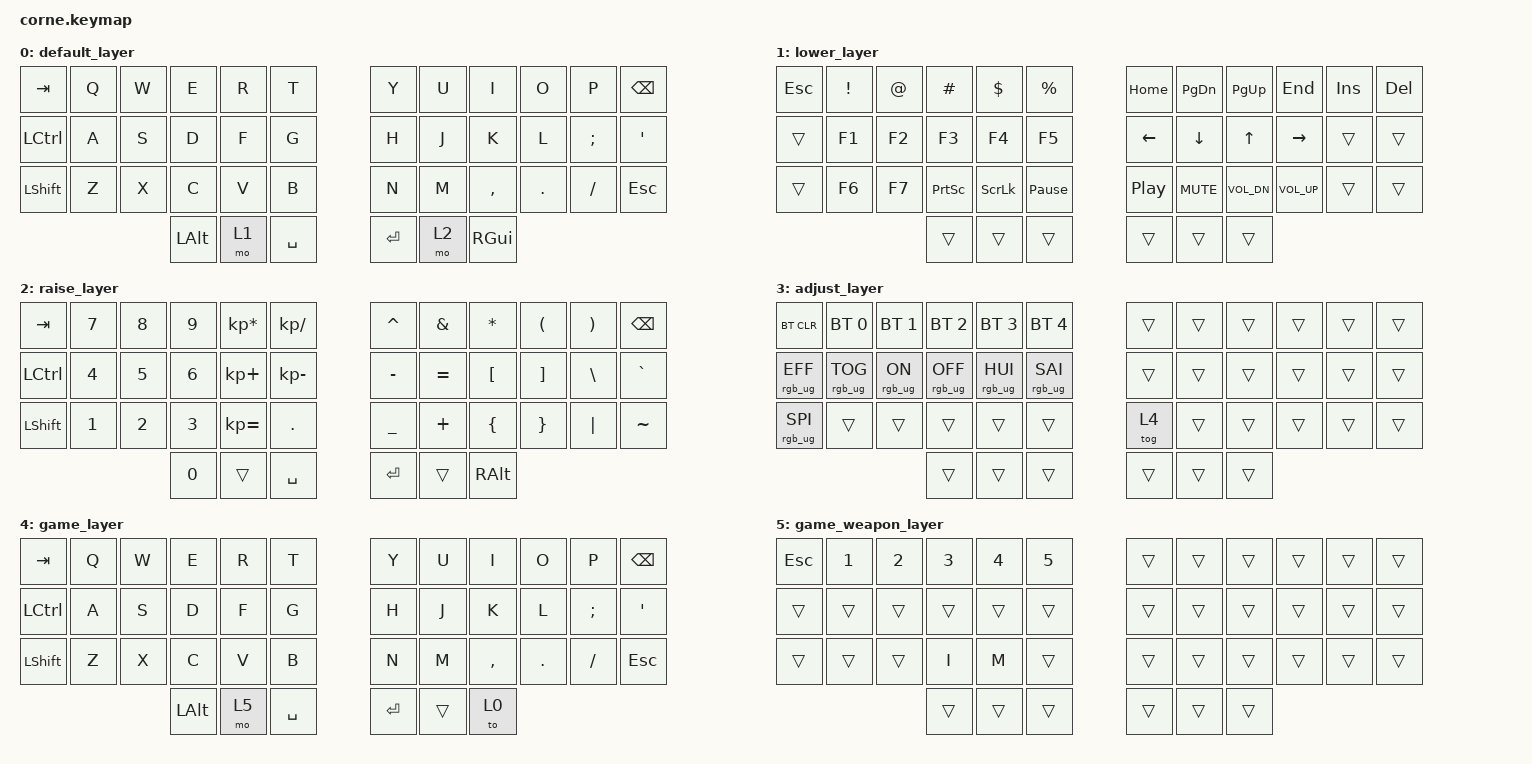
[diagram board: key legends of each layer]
/*
 * Copyright (c) 2020 The ZMK Contributors
 *
 * SPDX-License-Identifier: MIT
 */

#include <behaviors.dtsi>
#include <dt-bindings/zmk/bt.h>
#include <dt-bindings/zmk/keys.h>
#include <dt-bindings/zmk/rgb.h>

/ {
    /* =====================================================================
     * MACROS - Smart Brackets (types pair + moves cursor inside)
     * ===================================================================== */
    macros {
        /* Types () and moves cursor left */
        m_parens: m_parens {
            compatible = "zmk,behavior-macro";
            #binding-cells = <0>;
            bindings = <&kp LPAR &kp RPAR &kp LEFT>;
        };

        /* Types [] and moves cursor left */
        m_brackets: m_brackets {
            compatible = "zmk,behavior-macro";
            #binding-cells = <0>;
            bindings = <&kp LBKT &kp RBKT &kp LEFT>;
        };

        /* Types {} and moves cursor left */
        m_braces: m_braces {
            compatible = "zmk,behavior-macro";
            #binding-cells = <0>;
            bindings = <&kp LBRC &kp RBRC &kp LEFT>;
        };

        /* Mac Screenshot: Cmd + Shift + 4 */
        m_shot: m_shot {
            compatible = "zmk,behavior-macro";
            #binding-cells = <0>;
            bindings
                = <&macro_press &kp LGUI &kp LSHFT>
                , <&macro_tap &kp N4>
                , <&macro_release &kp LGUI &kp LSHFT>;
        };

        /* Switch Window: Cmd + ` */
        m_switch: m_switch {
            compatible = "zmk,behavior-macro";
            #binding-cells = <0>;
            bindings
                = <&macro_press &kp LGUI>
                , <&macro_tap &kp GRAVE>
                , <&macro_release &kp LGUI>;
        };
    };

    /* =====================================================================
     * COMBOS - Layer-Restricted
     * Key Positions for Corne 42:
     * L-Top: 0-5    R-Top: 6-11
     * L-Mid: 12-17  R-Mid: 18-23
     * L-Bot: 24-29  R-Bot: 30-35
     * ===================================================================== */
    combos {
        compatible = "zmk,combos";

        /* --- LOWER LAYER COMBOS (Hold Lower +) --- */

        /* Hold Lower + U + I = Smart () */
        combo_parens {
            timeout-ms = <50>;
            key-positions = <7 8>;
            layers = <1>;
            bindings = <&m_parens>;
        };

        /* Hold Lower + I + O = Smart [] */
        combo_brackets {
            timeout-ms = <50>;
            key-positions = <8 9>;
            layers = <1>;
            bindings = <&m_brackets>;
        };

        /* Hold Lower + O + P = Smart {} */
        combo_braces {
            timeout-ms = <50>;
            key-positions = <9 10>;
            layers = <1>;
            bindings = <&m_braces>;
        };

        /* --- RAISE LAYER COMBOS (Hold Raise +) --- */

        /* Hold Raise + A + S = Screenshot (Cmd+Shift+4) */
        combo_shot {
            timeout-ms = <50>;
            key-positions = <13 14>;
            layers = <2>;
            bindings = <&m_shot>;
        };

        /* Hold Raise + S + D = Switch Window (Cmd+`) */
        combo_switch {
            timeout-ms = <50>;
            key-positions = <14 15>;
            layers = <2>;
            bindings = <&m_switch>;
        };

        /* Hold Raise + J + K = Word Left (Option+Left) */
        combo_word_left {
            timeout-ms = <50>;
            key-positions = <19 20>;
            layers = <2>;
            bindings = <&kp LA(LEFT)>;
        };

        /* Hold Raise + K + L = Word Right (Option+Right) */
        combo_word_right {
            timeout-ms = <50>;
            key-positions = <20 21>;
            layers = <2>;
            bindings = <&kp LA(RIGHT)>;
        };

        /* Hold Raise + H + J = Line Start (Cmd+Left) */
        combo_line_start {
            timeout-ms = <50>;
            key-positions = <18 19>;
            layers = <2>;
            bindings = <&kp LG(LEFT)>;
        };

        /* Hold Raise + L + ; = Line End (Cmd+Right) */
        combo_line_end {
            timeout-ms = <50>;
            key-positions = <21 22>;
            layers = <2>;
            bindings = <&kp LG(RIGHT)>;
        };

        /* Hold Raise + U + I = Delete Word (Option+Backspace) */
        combo_del_word {
            timeout-ms = <50>;
            key-positions = <7 8>;
            layers = <2>;
            bindings = <&kp LA(BSPC)>;
        };

        /* Hold Raise + O + P = Delete to Line End (Cmd+Delete) */
        combo_del_line {
            timeout-ms = <50>;
            key-positions = <9 10>;
            layers = <2>;
            bindings = <&kp LG(BSPC)>;
        };

        /* Hold Raise + D + F = App Switcher (Cmd+Tab) */
        combo_app_switch {
            timeout-ms = <50>;
            key-positions = <15 16>;
            layers = <2>;
            bindings = <&kp LG(TAB)>;
        };

        /* Hold Raise + F + G = Mission Control (Ctrl+Up) */
        combo_mission {
            timeout-ms = <50>;
            key-positions = <16 17>;
            layers = <2>;
            bindings = <&kp LC(UP)>;
        };

        /* Hold Raise + Q + W = Close Tab (Cmd+W) */
        combo_close {
            timeout-ms = <50>;
            key-positions = <1 2>;
            layers = <2>;
            bindings = <&kp LG(W)>;
        };

        /* Hold Raise + W + E = Spotlight (Cmd+Space) */
        combo_spotlight {
            timeout-ms = <50>;
            key-positions = <2 3>;
            layers = <2>;
            bindings = <&kp LG(SPACE)>;
        };
    };

    /* 
     * CONDITIONAL LAYERS
     * Hold Lower (1) + Raise (2) = Adjust (3)
     */
    conditional_layers {
        compatible = "zmk,conditional-layers";

        tri_layer {
            if-layers = <1 2>;
            then-layer = <3>;
        };
    };

    keymap {
        compatible = "zmk,keymap";

        /* Layer 0: Default */

        default_layer {
            bindings = <
&kp TAB    &kp Q  &kp W  &kp E         &kp R  &kp T        &kp Y    &kp U  &kp I              &kp O    &kp P     &kp BSPC
&kp LCTRL  &kp A  &kp S  &kp D         &kp F  &kp G        &kp H    &kp J  &kp K              &kp L    &kp SEMI  &kp SQT
&kp LSHFT  &kp Z  &kp X  &kp C         &kp V  &kp B        &kp N    &kp M  &kp COMMA          &kp DOT  &kp FSLH  &kp ESC
                         &kp LALT  &mo 1  &kp SPACE    &kp RET  &mo 2  &kp RGUI
            >;
        };

        /* Layer 1: Lower (Fixed PAUSE_BREAK & Navigation) */

        lower_layer {
            bindings = <
&kp ESC  &kp EXCL  &kp AT  &kp HASH   &kp DLLR  &kp PRCNT        &kp HOME  &kp PG_DN   &kp PG_UP     &kp END       &kp INS  &kp DEL
&trans   &kp F1           &kp F2       &kp F3     &kp F4      &kp F5             &kp LEFT  &kp DOWN    &kp UP        &kp RIGHT     &trans   &trans
&trans   &kp F6           &kp F7       &kp PSCRN  &kp SLCK    &kp PAUSE_BREAK    &kp C_PP  &kp C_MUTE  &kp C_VOL_DN  &kp C_VOL_UP  &trans   &trans
                                       &trans     &trans      &trans             &trans    &trans      &trans
            >;
        };

        /* Layer 2: Raise (Left Hand Numpad + Brackets) */

        raise_layer {
            bindings = <
&kp TAB    &kp N7  &kp N8  &kp N9  &kp KP_MULTIPLY  &kp KP_DIVIDE    &kp CARET  &kp AMPS   &kp ASTRK  &kp LPAR  &kp RPAR  &kp BSPC
&kp LCTRL  &kp N4  &kp N5  &kp N6  &kp KP_PLUS      &kp KP_MINUS     &kp MINUS  &kp EQUAL  &kp LBKT   &kp RBKT  &kp BSLH  &kp GRAVE
&kp LSHFT  &kp N1  &kp N2  &kp N3  &kp KP_EQUAL     &kp DOT          &kp UNDER  &kp PLUS   &kp LBRC   &kp RBRC  &kp PIPE  &kp TILDE
                           &kp N0  &trans           &kp SPACE        &kp RET    &trans     &kp RALT
            >;
        };

        /* Layer 3: Adjust (Bluetooth, RGB, Game Toggle) */

        adjust_layer {
            bindings = <
&bt BT_CLR       &bt BT_SEL 0     &bt BT_SEL 1    &bt BT_SEL 2     &bt BT_SEL 3     &bt BT_SEL 4       &trans  &trans  &trans  &trans  &trans  &trans
&rgb_ug RGB_EFF  &rgb_ug RGB_TOG  &rgb_ug RGB_ON  &rgb_ug RGB_OFF  &rgb_ug RGB_HUI  &rgb_ug RGB_SAI    &trans  &trans  &trans  &trans  &trans  &trans
&rgb_ug RGB_SPI  &trans           &trans          &trans           &trans           &trans             &tog 4  &trans  &trans  &trans  &trans  &trans
                                                  &trans           &trans           &trans             &trans  &trans  &trans
            >;
        };

        /* Layer 4: Game Base (Lag-Free) */

        game_layer {
            bindings = <
&kp TAB    &kp Q  &kp W  &kp E     &kp R  &kp T        &kp Y       &kp U   &kp I      &kp O    &kp P     &kp BSPC
&kp LCTRL  &kp A  &kp S  &kp D     &kp F  &kp G        &kp H       &kp J   &kp K      &kp L    &kp SEMI  &kp SQT
&kp LSHFT  &kp Z  &kp X  &kp C     &kp V  &kp B        &kp N       &kp M   &kp COMMA  &kp DOT  &kp FSLH  &kp ESC
                         &kp LALT  &mo 5  &kp SPACE    &kp RET  &trans  &to 0
            >;
        };

        /* Layer 5: Game Weapons */

        game_weapon_layer {
            bindings = <
&kp ESC  &kp N1  &kp N2  &kp N3  &kp N4  &kp N5    &trans  &trans  &trans  &trans  &trans  &trans
&trans   &trans  &trans  &trans  &trans  &trans    &trans  &trans  &trans  &trans  &trans  &trans
&trans   &trans  &trans  &kp I   &kp M   &trans    &trans  &trans  &trans  &trans  &trans  &trans
                         &trans  &trans  &trans    &trans  &trans  &trans
            >;
        };
    };
};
